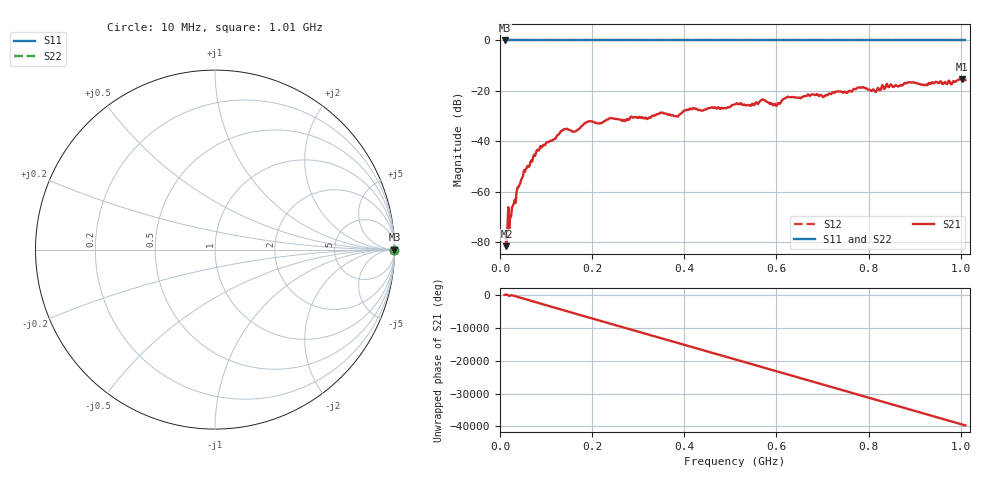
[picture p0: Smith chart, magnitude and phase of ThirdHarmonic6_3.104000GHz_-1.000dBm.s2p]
! 8/17/2025 9:10:02 AM
! C:\ANRITSUVNA\TEMP\TEMP.S2P
! CHANNEL.1
! TR.MEASUREMENT
! RAW.DATA
! RF.CORRECTION.OFF
! AVERAGING.OFF
! IF.BANDWIDTH: 5KHZ
! SWEEPTYPE:  FREQ.SWEEP(Linear)
! Reference Plane Port Info
! PORT:  PORT1  PORT2
! DISTANCE:  0  m  0  m
! TIME:  0  s  0  s
! PHASE.OFFSET:  0  deg.  0  deg.
! LOSS:  0  dB  0  dB
! REF.LOSS:  0  dB  0  dB
! REF.FREQ:  0  Hz  0  Hz
! Power Info
! POWER:  -20  dBm  -20  dBm
! EFF.POWER:  -20  dBm  -20  dBm
! SOURCE.ATTEN:  0  dB  0  dB
! TEST.ATTEN:  0  dB  0  dB
# GHZ S RI R 50.0
! FREQ.GHZ  S11RE  S11IM  S21RE  S21IM  S12RE  S12IM  S22RE  S22IM
!; PortSelection: Port_12
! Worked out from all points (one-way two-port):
!   501 points, 10 MHz to 1.01 GHz, reference 50 ohm
!   highest |S21| = -15.36 dB at 1.002 GHz (marker M1); lowest = -81.6 dB at 14 MHz (marker M2)
!   lowest |S11| = 0.0 dB at 10 MHz (marker M3)
!   |S11| at or under -10 dB: nowhere
!   |S22| runs from 0.0 to 0.0 dB; largest |S21 - S12| = 1.2
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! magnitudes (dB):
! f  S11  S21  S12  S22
! 10 MHz  0.0  -76.7  0.0  0.0
! 14 MHz  0.0  -81.6  0.0  0.0
! 42 MHz  0.0  -57.3  0.0  0.0
! 78 MHz  0.0  -44.6  0.0  0.0
! 136 MHz  0.0  -35.7  0.0  0.0
! 162 MHz  0.0  -36.2  0.0  0.0
! 178 MHz  0.0  -33.9  0.0  0.0
! 194 MHz  0.0  -32.1  0.0  0.0
! 322 MHz  0.0  -30.8  0.0  0.0
! 344 MHz  0.0  -29.2  0.0  0.0
! 382 MHz  0.0  -30.0  0.0  0.0
! 416 MHz  0.0  -27.3  0.0  0.0
! 510 MHz  0.0  -25.3  0.0  0.0
! 570 MHz  0.0  -23.4  0.0  0.0
! 596 MHz  0.0  -25.1  0.0  0.0
! 624 MHz  0.0  -22.3  0.0  0.0
! 678 MHz  0.0  -21.4  0.0  0.0
! 784 MHz  0.0  -18.8  0.0  0.0
! 814 MHz  0.0  -20.3  0.0  0.0
! 844 MHz  0.0  -18.6  0.0  0.0
! 1.002 GHz  0.0  -15.4  0.0  0.0
! 1.01 GHz  0.0  -15.7  0.0  0.0
